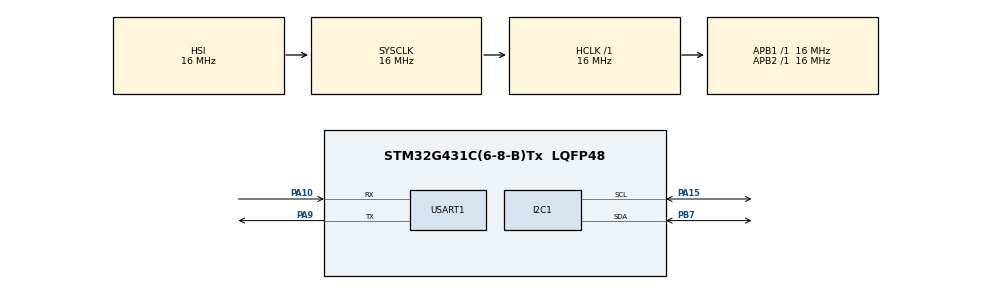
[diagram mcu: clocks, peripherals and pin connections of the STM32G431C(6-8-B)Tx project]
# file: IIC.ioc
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Dma.I2C1_RX.0.Direction=DMA_PERIPH_TO_MEMORY
Dma.I2C1_RX.0.EventEnable=DISABLE
Dma.I2C1_RX.0.Instance=DMA1_Channel1
Dma.I2C1_RX.0.MemDataAlignment=DMA_MDATAALIGN_BYTE
Dma.I2C1_RX.0.MemInc=DMA_MINC_ENABLE
Dma.I2C1_RX.0.Mode=DMA_NORMAL
Dma.I2C1_RX.0.PeriphDataAlignment=DMA_PDATAALIGN_BYTE
Dma.I2C1_RX.0.PeriphInc=DMA_PINC_DISABLE
Dma.I2C1_RX.0.Polarity=HAL_DMAMUX_REQ_GEN_RISING
Dma.I2C1_RX.0.Priority=DMA_PRIORITY_LOW
Dma.I2C1_RX.0.RequestNumber=1
Dma.I2C1_RX.0.SignalID=NONE
Dma.I2C1_RX.0.SyncEnable=DISABLE
Dma.I2C1_RX.0.SyncPolarity=HAL_DMAMUX_SYNC_NO_EVENT
Dma.I2C1_RX.0.SyncRequestNumber=1
Dma.I2C1_RX.0.SyncSignalID=NONE
Dma.I2C1_TX.1.Direction=DMA_MEMORY_TO_PERIPH
Dma.I2C1_TX.1.EventEnable=DISABLE
Dma.I2C1_TX.1.Instance=DMA1_Channel2
Dma.I2C1_TX.1.MemDataAlignment=DMA_MDATAALIGN_BYTE
Dma.I2C1_TX.1.MemInc=DMA_MINC_ENABLE
Dma.I2C1_TX.1.Mode=DMA_NORMAL
Dma.I2C1_TX.1.PeriphDataAlignment=DMA_PDATAALIGN_BYTE
Dma.I2C1_TX.1.PeriphInc=DMA_PINC_DISABLE
Dma.I2C1_TX.1.Polarity=HAL_DMAMUX_REQ_GEN_RISING
Dma.I2C1_TX.1.Priority=DMA_PRIORITY_LOW
Dma.I2C1_TX.1.RequestNumber=1
Dma.I2C1_TX.1.SignalID=NONE
Dma.I2C1_TX.1.SyncEnable=DISABLE
Dma.I2C1_TX.1.SyncPolarity=HAL_DMAMUX_SYNC_NO_EVENT
Dma.I2C1_TX.1.SyncRequestNumber=1
Dma.I2C1_TX.1.SyncSignalID=NONE
Dma.Request0=I2C1_RX
Dma.Request1=I2C1_TX
I2C1.Timing=0x00503D58
Mcu.Family=STM32G4
Mcu.Name=STM32G431C(6-8-B)Tx
Mcu.Package=LQFP48
NVIC.DMA1_Channel1_IRQn=true\:0\:0\:false\:false\:true\:false\:true\:true
NVIC.DMA1_Channel2_IRQn=true\:0\:0\:false\:false\:true\:false\:true\:true
NVIC.I2C1_ER_IRQn=true\:0\:0\:false\:false\:true\:true\:true\:true
NVIC.I2C1_EV_IRQn=true\:0\:0\:false\:false\:true\:true\:true\:true
NVIC.PriorityGroup=NVIC_PRIORITYGROUP_4
PA10.Mode=Asynchronous
PA10.Signal=USART1_RX
PA13.Mode=Serial_Wire
PA13.Signal=SYS_JTMS-SWDIO
PA14.Mode=Serial_Wire
PA14.Signal=SYS_JTCK-SWCLK
PA15.Mode=I2C
PA15.Signal=I2C1_SCL
PA9.Mode=Asynchronous
PA9.Signal=USART1_TX
PB7.Mode=I2C
PB7.Signal=I2C1_SDA
ProjectManager.HeapSize=0x200
ProjectManager.StackSize=0x400
ProjectManager.TargetToolchain=CMake
RCC.AHBFreq_Value=16000000
RCC.APB1Freq_Value=16000000
RCC.APB1TimFreq_Value=16000000
RCC.APB2Freq_Value=16000000
RCC.APB2TimFreq_Value=16000000
RCC.CortexFreq_Value=16000000
RCC.EXTERNAL_CLOCK_VALUE=12288000
RCC.HCLKFreq_Value=16000000
RCC.HSE_VALUE=8000000
RCC.HSI48_VALUE=48000000
RCC.HSI_VALUE=16000000
RCC.LSE_VALUE=32768
RCC.SYSCLKFreq_VALUE=16000000
RCC.USBFreq_Value=64000000
RCC.VCOOutputFreq_Value=128000000
USART1.VirtualMode-Asynchronous=VM_ASYNC
VP_SYS_VS_DBSignals.Mode=DisableDeadBatterySignals
board=custom

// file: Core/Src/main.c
/* USER CODE BEGIN Header */
/**
  ******************************************************************************
  * @file           : main.c
  * @brief          : Main program body
  ******************************************************************************
  * @attention
  *
  * Copyright (c) 2026 STMicroelectronics.
  * All rights reserved.
  *
  * This software is licensed under terms that can be found in the LICENSE file
  * in the root directory of this software component.
  * If no LICENSE file comes with this software, it is provided AS-IS.
  *
  ******************************************************************************
  */
/* USER CODE END Header */
#include "main.h"
#include "dma.h"
#include "i2c.h"
#include "usart.h"
#include "gpio.h"

/* USER CODE BEGIN Includes */
#include "aht20.h"
#include "stdio.h"
#include "string.h"
/* USER CODE END Includes */

/* USER CODE BEGIN PV */
//状态机
//0:初始状态 发送测试指令 1：发送测试指令 2：指令完成发送，等待75mm之后读取aht20的数据
//3：IIC读取中 4：读取完成，解析并输出温湿度值
uint8_t aht20State = 0;

/* USER CODE END PV */

void SystemClock_Config(void);

int main(void)
{

  /* MCU Configuration--------------------------------------------------------*/

  /* Reset of all peripherals, Initializes the Flash interface and the Systick. */
  HAL_Init();

  /* Configure the system clock */
  SystemClock_Config();

  /* Initialize all configured peripherals */
  MX_GPIO_Init();
  MX_DMA_Init();
  MX_I2C1_Init();
  MX_USART1_UART_Init();
  /* USER CODE BEGIN 2 */
  AHT20_Init();
  float Humidity,Temperature;
  char message[50];
  /* USER CODE END 2 */

  /* Infinite loop */
  /* USER CODE BEGIN WHILE */
  while (1)
  {
    if (aht20State == 0) {
      AHT20_Measure();
      aht20State = 1;
    }

    else if (aht20State == 2) {
      HAL_Delay(75);
      AHT20_Get();
      aht20State = 3;

    }

    else if (aht20State == 4) {
      AHT20_Analys(&Humidity,&Temperature);
      sprintf(message,"湿度： %.1f %% 温度：%.1f ℃ \r\n",Humidity,Temperature);
      HAL_UART_Transmit(&huart1,message,strlen(message),HAL_MAX_DELAY);

      HAL_Delay(1000);
      aht20State = 0;
    }

    /* USER CODE END WHILE */

  }
}

void SystemClock_Config(void)
{
  RCC_OscInitTypeDef RCC_OscInitStruct = {0};
  RCC_ClkInitTypeDef RCC_ClkInitStruct = {0};

  /** Configure the main internal regulator output voltage
  */
  HAL_PWREx_ControlVoltageScaling(PWR_REGULATOR_VOLTAGE_SCALE1);

  /** Initializes the RCC Oscillators according to the specified parameters
  * in the RCC_OscInitTypeDef structure.
  */
  RCC_OscInitStruct.OscillatorType = RCC_OSCILLATORTYPE_HSI;
  RCC_OscInitStruct.HSIState = RCC_HSI_ON;
  RCC_OscInitStruct.HSICalibrationValue = RCC_HSICALIBRATION_DEFAULT;
  RCC_OscInitStruct.PLL.PLLState = RCC_PLL_NONE;
  if (HAL_RCC_OscConfig(&RCC_OscInitStruct) != HAL_OK)
  {
    Error_Handler();
  }

  /** Initializes the CPU, AHB and APB buses clocks
  */
  RCC_ClkInitStruct.ClockType = RCC_CLOCKTYPE_HCLK|RCC_CLOCKTYPE_SYSCLK
                              |RCC_CLOCKTYPE_PCLK1|RCC_CLOCKTYPE_PCLK2;
  RCC_ClkInitStruct.SYSCLKSource = RCC_SYSCLKSOURCE_HSI;
  RCC_ClkInitStruct.AHBCLKDivider = RCC_SYSCLK_DIV1;
  RCC_ClkInitStruct.APB1CLKDivider = RCC_HCLK_DIV1;
  RCC_ClkInitStruct.APB2CLKDivider = RCC_HCLK_DIV1;

  if (HAL_RCC_ClockConfig(&RCC_ClkInitStruct, FLASH_LATENCY_0) != HAL_OK)
  {
    Error_Handler();
  }
}

void Error_Handler(void)
{
  __disable_irq();
  while (1)
  {
  }
}
